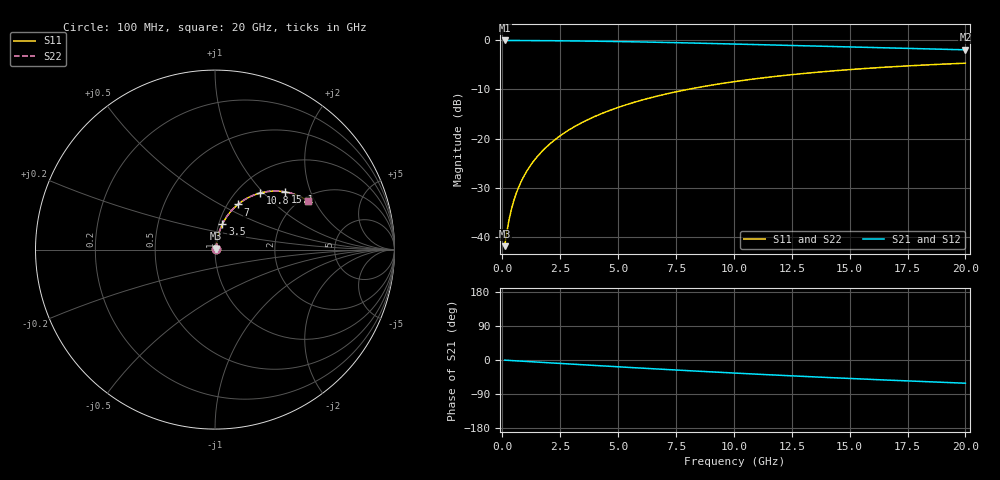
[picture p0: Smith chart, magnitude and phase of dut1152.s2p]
! Touchstone file exported from HFSS 2026.1.0
!  File:  C:/ffzhzh/LocalFiles/Ansys_Project_Files/temp_train_TMRDL_1152_1783162145_18472.aedt
!  Generated:  06:50:36 PM Jul  4, 2026
!  Design:  TMRDL
!  Project:  temp_train_TMRDL_1152_1783162145_18472
! Variables:
!  h_bsmrdl = 2um
!  h_ox = 20um
!  h_rdl = 5um
!  h_sub = 80um
!  h_tmrdl = 2.39um
!  h_tsv = 80um
!  h_via = 3um
!  l_bsmrdl = 300um
!  l_sub = 1305.1um
!  l_tmrdl = 905.1um
!  m_sub = 200um
!  pitch = 58.96um
!  r_tsv = 6um
!  s_tmrdl = 10um
!  w_bsmrdl = 18um
!  w_sub = 500um
!  w_tmrdl = 20.46um
!  x_tsv_center1 = 915.33um
!  x_tsv_center2 = 1233.33um
!  x_tsv_center3 = 2158.89um
!  x_tsv_center4 = 2476.89um
!  x_tsv_center5 = 3402.45um
!  x_tsv_center6 = 3720.45um
# GHz S MA R 50.000000
! Terminal data exported
! Port[1] = TM_RDL1_1_T1
! Port[2] = TM_RDL1_1_T2
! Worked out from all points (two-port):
!   200 points, 100 MHz to 20 GHz, reference 50 ohm
!   highest |S21| = -0.06 dB at 100 MHz (marker M1); lowest = -2.0 dB at 20 GHz (marker M2)
!   |S21| within 3 dB of the highest: start of sweep to end of sweep
!   lowest |S11| = -41.8 dB at 100 MHz (marker M3), VSWR 1.02, Z = 50.7 + j0.464 ohm
!   |S11| at or under -10 dB: start of sweep to 7.996 GHz
!   |S22| runs from -41.8 to -4.7 dB; largest |S21 - S12| = 2.2e-15
!   S11 on the Smith chart (normalised r, x): 100 MHz: 1.01, +0.01; 3.5 GHz: 1.04, +0.30; 7 GHz: 1.12, +0.61; 10.8 GHz: 1.27, +0.95; 15.1 GHz: 1.56, +1.35; 20 GHz: 2.16, +1.77
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0.1  0.008143 34.2  0.9933 -0.4  0.9933 -0.4  0.008143 34.2
! Gamma 0 0 0 0
! Port Impedance 50 0 50 0
0.2  0.01147 52.6  0.9931 -0.8  0.9931 -0.8  0.01147 52.6
0.3  0.0154 61.6  0.9929 -1.1  0.9929 -1.1  0.0154 61.6
0.4  0.01952 66.6  0.9926 -1.5  0.9926 -1.5  0.01952 66.6
0.5  0.02368 69.7  0.9923 -1.9  0.9923 -1.9  0.02368 69.7
0.6  0.02785 71.8  0.992 -2.3  0.992 -2.3  0.02785 71.8
0.8  0.03619 74.3  0.9914 -3.0  0.9914 -3.0  0.03619 74.4
1.1  0.04872 76.2  0.9906 -4.1  0.9906 -4.1  0.04872 76.2
1.6  0.06965 77.1  0.9891 -5.9  0.9891 -5.9  0.06965 77.1
2.1  0.09057 76.8  0.9873 -7.7  0.9873 -7.7  0.09057 76.8
2.7  0.1155 75.8  0.9845 -9.8  0.9845 -9.8  0.1155 75.8
3.5  0.1484 73.8  0.9799 -12.7  0.9799 -12.7  0.1484 73.8
5  0.2079 69.4  0.9687 -18.0  0.9687 -18.0  0.2079 69.4
6.8  0.2749 63.7  0.9514 -24.1  0.9514 -24.1  0.2749 63.8
7  0.282 63.1  0.9492 -24.8  0.9492 -24.8  0.282 63.2
8.5  0.3328 58.4  0.9323 -29.7  0.9323 -29.7  0.3328 58.5
10.1  0.3822 53.6  0.9128 -34.7  0.9128 -34.7  0.3822 53.6
10.8  0.4023 51.5  0.9041 -36.8  0.9041 -36.8  0.4023 51.6
13.4  0.4684 44.1  0.8714 -44.4  0.8714 -44.4  0.4684 44.2
15.1  0.5049 39.6  0.8508 -49.0  0.8508 -49.0  0.5049 39.6
16.7  0.5349 35.5  0.8324 -53.2  0.8324 -53.2  0.5349 35.5
20  0.5843 27.5  0.7988 -61.3  0.7988 -61.3  0.5843 27.6
